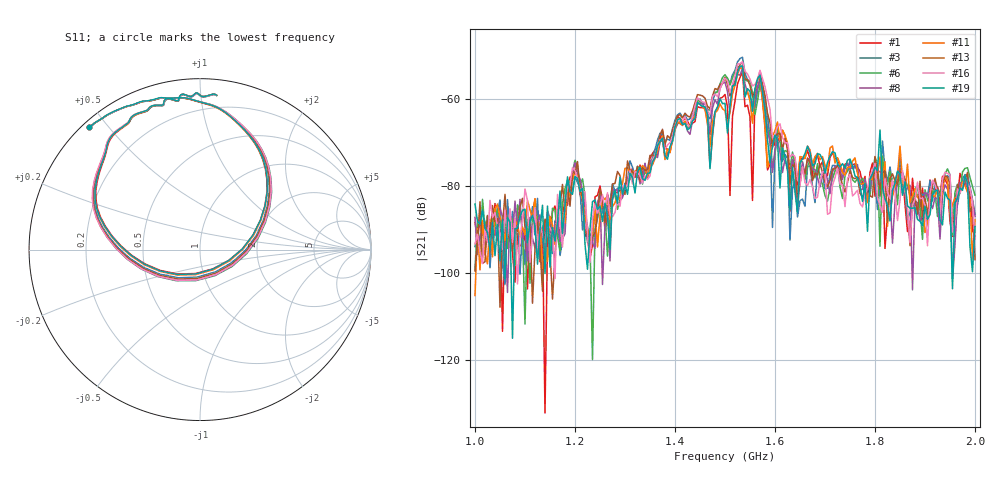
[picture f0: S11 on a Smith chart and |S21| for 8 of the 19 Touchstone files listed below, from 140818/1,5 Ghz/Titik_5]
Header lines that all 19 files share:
# Hz S RI R 50
! CMT, C1220, 16058040, 17.2.0/1
! Data: Format (Calibration Info)
! Freq  S11: Re/Im (F2)  S21: Re/Im (F2)  S12: Re/Im (F2)  S22: Re/Im (F2)
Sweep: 1 GHz to 2 GHz
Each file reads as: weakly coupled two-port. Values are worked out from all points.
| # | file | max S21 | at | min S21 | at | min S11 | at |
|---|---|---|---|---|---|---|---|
| 1 | Sudut_20_Titik_5.s2p | -53.89 dB | 1.535 GHz | -132.2 dB | 1.14 GHz | -17.4 dB | 1.53 GHz |
| 2 | Sudut_50_Titik_5.s2p | -51.54 dB | 1.535 GHz | -115.7 dB | 1.99 GHz | -16.7 dB | 1.53 GHz |
| 3 | Sudut_70_Titik_5.s2p | -50.45 dB | 1.535 GHz | -102.6 dB | 1.06 GHz | -16.0 dB | 1.53 GHz |
| 4 | Sudut_80_Titik_5.s2p | -51.42 dB | 1.535 GHz | -105.1 dB | 1.265 GHz | -15.7 dB | 1.53 GHz |
| 5 | Sudut_90_Titik_5.s2p | -51.22 dB | 1.53 GHz | -101.4 dB | 1.01 GHz | -15.4 dB | 1.53 GHz |
| 6 | Sudut_100_Titik_5.s2p | -52.36 dB | 1.535 GHz | -119.9 dB | 1.235 GHz | -15.1 dB | 1.53 GHz |
| 7 | Sudut_110_Titik_5.s2p | -52.63 dB | 1.535 GHz | -101.4 dB | 1.015 GHz | -15.0 dB | 1.53 GHz |
| 8 | Sudut_130_Titik_5.s2p | -52.97 dB | 1.535 GHz | -104.5 dB | 1.065 GHz | -15.2 dB | 1.53 GHz |
| 9 | Sudut_160_Titik_5.s2p | -53.35 dB | 1.535 GHz | -104.0 dB | 1.055 GHz | -16.7 dB | 1.53 GHz |
| 10 | Sudut_180_Titik_5.s2p | -53.28 dB | 1.53 GHz | -100.8 dB | 1.23 GHz | -17.3 dB | 1.53 GHz |
| 11 | Sudut_200_Titik_5.s2p | -52.90 dB | 1.53 GHz | -105.2 dB | 1 GHz | -17.0 dB | 1.53 GHz |
| 12 | Sudut_220_Titik_5.s2p | -51.56 dB | 1.535 GHz | -107.3 dB | 1.065 GHz | -16.1 dB | 1.53 GHz |
| 13 | Sudut_230_Titik_5.s2p | -51.55 dB | 1.535 GHz | -107.9 dB | 1.05 GHz | -15.6 dB | 1.53 GHz |
| 14 | Sudut_240_Titik_5.s2p | -51.06 dB | 1.535 GHz | -117.1 dB | 1.235 GHz | -15.3 dB | 1.53 GHz |
| 15 | Sudut_250_Titik_5.s2p | -51.13 dB | 1.53 GHz | -113.6 dB | 1.17 GHz | -15.2 dB | 1.53 GHz |
| 16 | Sudut_260_Titik_5.s2p | -51.50 dB | 1.535 GHz | -102.6 dB | 1.085 GHz | -15.3 dB | 1.53 GHz |
| 17 | Sudut_320_Titik_5.s2p | -52.62 dB | 1.535 GHz | -102.1 dB | 1.06 GHz | -16.6 dB | 1.53 GHz |
| 18 | Sudut_330_Titik_5.s2p | -52.52 dB | 1.535 GHz | -105.1 dB | 1.225 GHz | -16.9 dB | 1.53 GHz |
| 19 | Sudut_340_Titik_5.s2p | -52.49 dB | 1.535 GHz | -115.0 dB | 1.075 GHz | -17.3 dB | 1.53 GHz |
